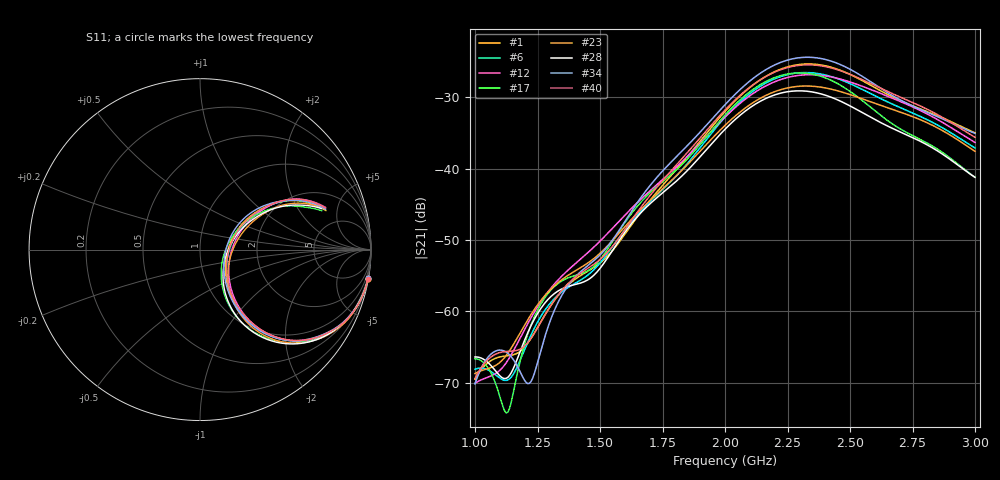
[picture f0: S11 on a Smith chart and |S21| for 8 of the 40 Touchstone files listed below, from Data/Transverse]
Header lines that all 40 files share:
! TOUCHSTONE file generated by CST MICROWAVE STUDIO
! Project name: transverse.cst
! Header version: 2024
! Port assignment regex: !\s*Touchstone port\s*([0-9]+)\s*=\s*(CST MWS port|CST DES external port|CST DES block port)\s*(.+)\s* \(\"(.*)\"\)(\s*mode\s*([0-9]+))?.*
! Touchstone port assignment:
! Touchstone port 1 = CST MWS port 1 ("")
! Touchstone port 2 = CST MWS port 2 ("")
# GHz S MA R 50
Fixed: D = 160, Feed = 2.85625, L = 100, R = 0.384908, length = 57.125, wave = 114.25
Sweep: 1 GHz to 3 GHz
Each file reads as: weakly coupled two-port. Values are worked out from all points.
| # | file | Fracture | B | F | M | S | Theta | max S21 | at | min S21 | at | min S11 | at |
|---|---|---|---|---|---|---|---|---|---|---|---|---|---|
| 1 | transverse_41.s2p | 1 | 12.5 | 5 | 20 | 1 | 0 | -25.35 dB | 2.331 GHz | -69.5 dB | 1 GHz | -16.0 dB | 2.371 GHz |
| 2 | transverse_42.s2p | 5 | 12.5 | 5 | 20 | 1 | 0 | -25.40 dB | 2.336 GHz | -69.7 dB | 1 GHz | -15.9 dB | 2.375 GHz |
| 3 | transverse_43.s2p | 1 | 12.5 | 5 | 20 | 2 | 0 | -25.80 dB | 2.329 GHz | -69.3 dB | 1 GHz | -15.5 dB | 2.375 GHz |
| 4 | transverse_44.s2p | 5 | 12.5 | 5 | 20 | 2 | 0 | -25.80 dB | 2.333 GHz | -69.1 dB | 1 GHz | -15.5 dB | 2.373 GHz |
| 5 | transverse_45.s2p | 1 | 12.5 | 5 | 30 | 1 | 0 | -26.49 dB | 2.316 GHz | -69.3 dB | 1.125 GHz | -15.6 dB | 2.349 GHz |
| 6 | transverse_46.s2p | 5 | 12.5 | 5 | 30 | 1 | 0 | -26.56 dB | 2.32 GHz | -69.7 dB | 1.125 GHz | -15.5 dB | 2.36 GHz |
| 7 | transverse_47.s2p | 1 | 12.5 | 5 | 30 | 2 | 0 | -26.59 dB | 2.316 GHz | -69.4 dB | 1.118 GHz | -15.4 dB | 2.362 GHz |
| 8 | transverse_48.s2p | 5 | 12.5 | 5 | 30 | 2 | 0 | -26.59 dB | 2.314 GHz | -70.1 dB | 1.119 GHz | -15.4 dB | 2.36 GHz |
| 9 | transverse_49.s2p | 1 | 12.5 | 15 | 10 | 1 | 0 | -24.81 dB | 2.316 GHz | -69.6 dB | 1.125 GHz | -15.4 dB | 2.368 GHz |
| 10 | transverse_50.s2p | 5 | 12.5 | 15 | 10 | 1 | 0 | -24.77 dB | 2.32 GHz | -70.0 dB | 1.119 GHz | -15.3 dB | 2.366 GHz |
| 11 | transverse_51.s2p | 1 | 12.5 | 15 | 10 | 2 | 0 | -26.89 dB | 2.342 GHz | -70.4 dB | 1 GHz | -14.9 dB | 2.375 GHz |
| 12 | transverse_52.s2p | 5 | 12.5 | 15 | 10 | 2 | 0 | -26.85 dB | 2.34 GHz | -70.1 dB | 1 GHz | -14.9 dB | 2.373 GHz |
| 13 | transverse_53.s2p | 1 | 12.5 | 15 | 20 | 1 | 0 | -25.14 dB | 2.289 GHz | -70.7 dB | 1.112 GHz | -16.0 dB | 2.342 GHz |
| 14 | transverse_54.s2p | 5 | 12.5 | 15 | 20 | 1 | 0 | -25.17 dB | 2.294 GHz | -71.6 dB | 1.112 GHz | -15.9 dB | 2.347 GHz |
| 15 | transverse_55.s2p | 1 | 12.5 | 15 | 20 | 2 | 0 | -27.41 dB | 2.303 GHz | -68.8 dB | 1.099 GHz | -15.0 dB | 2.355 GHz |
| 16 | transverse_56.s2p | 5 | 12.5 | 15 | 20 | 2 | 0 | -27.39 dB | 2.3 GHz | -69.4 dB | 1.106 GHz | -15.1 dB | 2.353 GHz |
| 17 | transverse_57.s2p | 1 | 12.5 | 15 | 30 | 1 | 0 | -26.60 dB | 2.296 GHz | -74.2 dB | 1.125 GHz | -16.9 dB | 2.355 GHz |
| 18 | transverse_58.s2p | 5 | 12.5 | 15 | 30 | 1 | 0 | -26.62 dB | 2.3 GHz | -76.1 dB | 1.125 GHz | -17.0 dB | 2.353 GHz |
| 19 | transverse_59.s2p | 1 | 12.5 | 15 | 30 | 2 | 0 | -28.13 dB | 2.289 GHz | -72.8 dB | 1.118 GHz | -16.7 dB | 2.349 GHz |
| 20 | transverse_60.s2p | 5 | 12.5 | 15 | 30 | 2 | 0 | -28.14 dB | 2.294 GHz | -74.9 dB | 1.125 GHz | -16.7 dB | 2.347 GHz |
| 21 | transverse_61.s2p | 1 | 12.5 | 25 | 10 | 1 | 0 | -27.08 dB | 2.276 GHz | -70.4 dB | 1.086 GHz | -15.4 dB | 2.336 GHz |
| 22 | transverse_62.s2p | 5 | 12.5 | 25 | 10 | 1 | 0 | -27.07 dB | 2.283 GHz | -69.8 dB | 1.086 GHz | -15.2 dB | 2.342 GHz |
| 23 | transverse_63.s2p | 1 | 12.5 | 25 | 10 | 2 | 0 | -28.44 dB | 2.322 GHz | -68.7 dB | 1 GHz | -14.7 dB | 2.355 GHz |
| 24 | transverse_64.s2p | 5 | 12.5 | 25 | 10 | 2 | 0 | -28.39 dB | 2.32 GHz | -68.2 dB | 1.066 GHz | -14.8 dB | 2.353 GHz |
| 25 | transverse_65.s2p | 1 | 12.5 | 25 | 20 | 1 | 0 | -28.22 dB | 2.276 GHz | -70.3 dB | 1.105 GHz | -16.2 dB | 2.349 GHz |
| 26 | transverse_66.s2p | 5 | 12.5 | 25 | 20 | 1 | 0 | -28.21 dB | 2.281 GHz | -70.9 dB | 1.106 GHz | -16.2 dB | 2.347 GHz |
| 27 | transverse_67.s2p | 1 | 12.5 | 25 | 20 | 2 | 0 | -29.13 dB | 2.296 GHz | -68.7 dB | 1.112 GHz | -16.1 dB | 2.349 GHz |
| 28 | transverse_68.s2p | 5 | 12.5 | 25 | 20 | 2 | 0 | -29.12 dB | 2.294 GHz | -69.4 dB | 1.119 GHz | -16.1 dB | 2.347 GHz |
| 29 | transverse_69.s2p | 1 | 12.5 | 25 | 30 | 1 | 0 | -29.91 dB | 2.287 GHz | -74.4 dB | 1.125 GHz | -18.4 dB | 2.353 GHz |
| 30 | transverse_70.s2p | 5 | 12.5 | 25 | 30 | 1 | 0 | -29.92 dB | 2.294 GHz | -74.3 dB | 1.125 GHz | -18.4 dB | 2.353 GHz |
| 31 | transverse_71.s2p | 1 | 12.5 | 25 | 30 | 2 | 0 | -30.36 dB | 2.3 GHz | -71.5 dB | 1.132 GHz | -19.0 dB | 2.347 GHz |
| 32 | transverse_72.s2p | 5 | 12.5 | 25 | 30 | 2 | 0 | -30.34 dB | 2.296 GHz | -70.7 dB | 1.132 GHz | -19.0 dB | 2.349 GHz |
| 33 | transverse_73.s2p | 1 | 10 | 5 | 10 | 1 | 90 | -24.35 dB | 2.329 GHz | -70.4 dB | 1.217 GHz | -16.5 dB | 2.375 GHz |
| 34 | transverse_74.s2p | 5 | 10 | 5 | 10 | 1 | 90 | -24.41 dB | 2.329 GHz | -70.2 dB | 1 GHz | -16.6 dB | 2.368 GHz |
| 35 | transverse_75.s2p | 1 | 10 | 5 | 10 | 2 | 90 | -25.29 dB | 2.342 GHz | -71.2 dB | 1 GHz | -16.1 dB | 2.382 GHz |
| 36 | transverse_76.s2p | 5 | 10 | 5 | 10 | 2 | 90 | -25.28 dB | 2.342 GHz | -71.3 dB | 1 GHz | -16.2 dB | 2.382 GHz |
| 37 | transverse_77.s2p | 1 | 10 | 5 | 20 | 1 | 90 | -25.00 dB | 2.342 GHz | -69.7 dB | 1 GHz | -16.1 dB | 2.382 GHz |
| 38 | transverse_78.s2p | 5 | 10 | 5 | 20 | 1 | 90 | -25.03 dB | 2.342 GHz | -69.7 dB | 1 GHz | -16.1 dB | 2.375 GHz |
| 39 | transverse_79.s2p | 1 | 10 | 5 | 20 | 2 | 90 | -25.48 dB | 2.336 GHz | -69.4 dB | 1 GHz | -15.6 dB | 2.375 GHz |
| 40 | transverse_80.s2p | 5 | 10 | 5 | 20 | 2 | 90 | -25.47 dB | 2.336 GHz | -69.4 dB | 1 GHz | -15.6 dB | 2.375 GHz |
